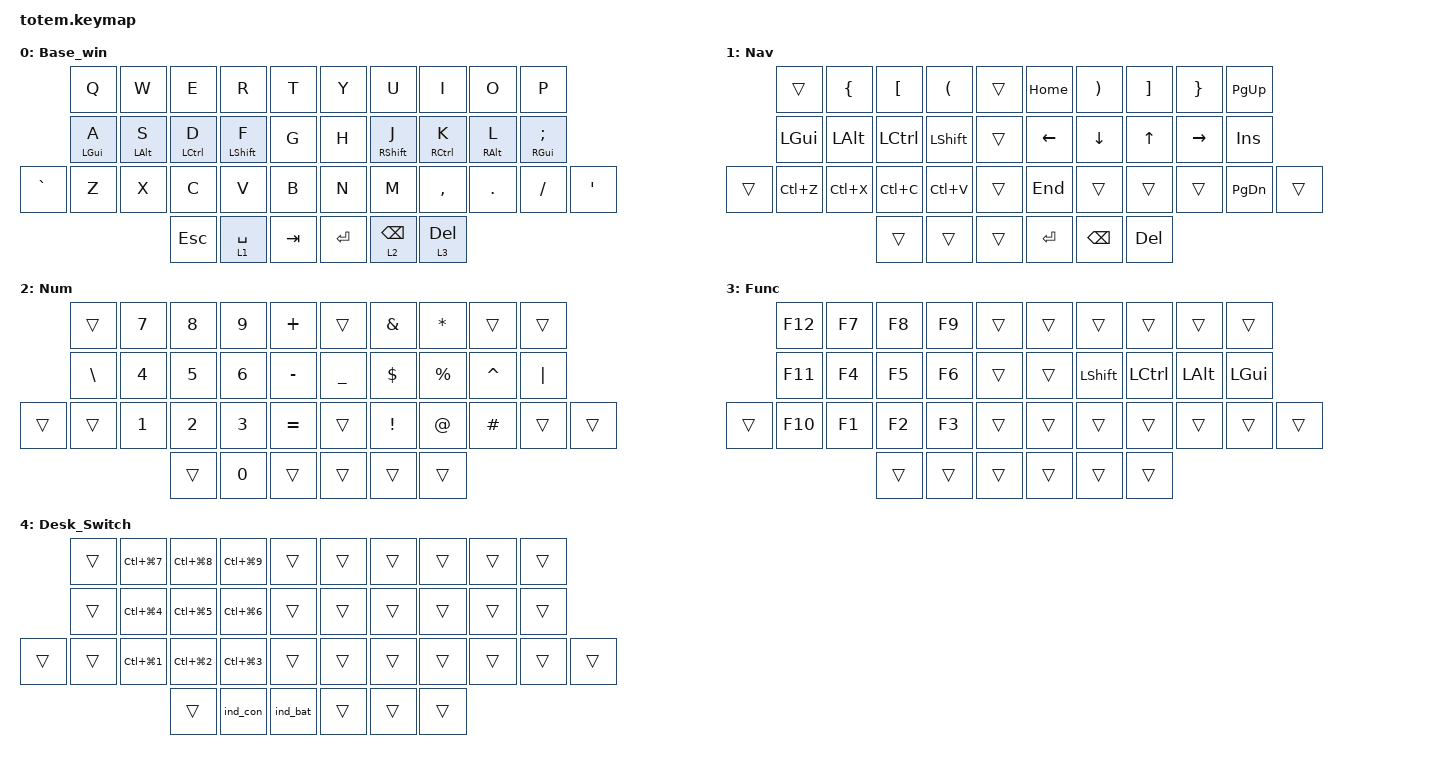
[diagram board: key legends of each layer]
//
//                                                        ▀▀▀▀▀     ▀▀▀▀▀          ▀▀█▀▀
//                                                        ▄▀▀▀▄  ▄  ▄▀▀▀▄  ▄  ▄▀▀▀▄  █  ▄▀▀▀▄
//                                                        █   █  █  █   █  █  █   █  █  █   █
//                                                         ▀▀▀   █   ▀▀▀   █   ▀▀▀   ▀   ▀▀▀
//                                                               █      ▄▄▄█▄▄▄    █   █
//                                                               ▀      █  █  █     █▄█
//                                                             ▀▀▀▀▀    █  █  █      ▀
//                                                                      ▀  ▀  ▀
//
// ▄▄▄▄▄▄▄▄▄▄▄▄▄▄▄▄▄▄▄▄▄▄▄▄▄▄▄▄▄▄▄▄▄▄▄▄▄▄▄▄▄▄▄▄▄▄▄▄▄▄▄▄▄▄▄▄▄▄▄▄▄▄▄▄▄▄▄▄▄▄▄▄▄▄▄▄▄▄▄▄▄▄▄▄▄▄▄▄▄▄▄▄▄▄▄▄▄▄▄▄▄▄▄▄▄▄▄▄▄▄▄▄▄▄▄▄▄▄▄▄▄▄▄▄▄▄▄▄▄▄▄▄▄▄▄▄▄▄▄▄▄▄▄▄▄▄▄▄▄

#define ZMK_POINTING_DEFAULT_MOVE_VAL 1500  // default: 600
#define ZMK_POINTING_DEFAULT_SCRL_VAL 20    // default: 10

#include <behaviors/rgbled_widget.dtsi>
#include <behaviors.dtsi>
#include <dt-bindings/zmk/keys.h>

#define Base        0
#define Nav         1
#define Num         2
#define Func        3
#define Sym         4
#define Desk_Switch 5
#define Mouse       6

&mt {
    tapping-term-ms = <170>;
    quick-tap-ms = <100>;
    flavor = "tap-preferred";
};

&lt {
    tapping-term-ms = <240>;
    quick-tap-ms = <150>;
    flavor = "balanced";
};

/ {
    behaviors {
        hm_l: homerow_mods_l {
            compatible = "zmk,behavior-hold-tap";
            label = "HOMEROW_MODS_LEFT";
            flavor = "tap-preferred";
            tapping-term-ms = <200>;
            quick-tap-ms = <125>;
            bindings = <&kp>, <&kp>;

            #binding-cells = <2>;
            hold-trigger-key-positions = <5 6 7 8 9 15 16 17 18 19 26 27 28 29 30 31 35 36 37 11 12 13 34 33>;
        };

        hm_r: homerow_mods_r {
            compatible = "zmk,behavior-hold-tap";
            label = "HOMEROW_MODS_RIGHT";
            flavor = "tap-preferred";
            tapping-term-ms = <200>;
            quick-tap-ms = <125>;
            bindings = <&kp>, <&kp>;

            #binding-cells = <2>;
            hold-trigger-key-positions = <0 1 2 3 4 10 11 12 13 14 20 21 22 23 24 25 32 33 34 16 17 18>;
        };

        hm_meta_l: hm_meta_l {
            compatible = "zmk,behavior-hold-tap";
            flavor = "balanced";
            tapping-term-ms = <400>;
            quick-tap-ms = <170>;
            require-prior-idle-ms = <50>;
            bindings = <&kp>, <&kp>;

            #binding-cells = <2>;
            hold-trigger-key-positions = <5 6 7 8 9 15 16 17 18 19 26 27 28 29 30 31 35 36 37 34 33>;
            hold-trigger-on-release;
        };

        hm_meta_r: hh_meta_r {
            compatible = "zmk,behavior-hold-tap";
            flavor = "balanced";
            tapping-term-ms = <400>;
            quick-tap-ms = <170>;
            require-prior-idle-ms = <50>;
            bindings = <&kp>, <&kp>;

            #binding-cells = <2>;
            hold-trigger-key-positions = <0 1 2 3 4 10 11 12 13 14 20 21 22 23 24 25 32 33 34>;
            hold-trigger-on-release;
        };
    };

    combos {
        compatible = "zmk,combos";

        WinNav {
            bindings = <&sl 4>;
            key-positions = <13 16>;
        };
    };

    keymap {
        compatible = "zmk,keymap";

        Base {
            display-name = "Base_win";
            bindings = <
           &kp Q              &kp W         &kp E          &kp R           &kp T      &kp Y      &kp U          &kp I          &kp O         &kp P
           &hm_meta_l LGUI A  &hm_l LALT S  &hm_l LCTRL D  &hm_l LSHIFT F  &kp G      &kp H      &hm_r RSHFT J  &hm_r RCTRL K  &hm_r RALT L  &hm_meta_r RGUI SEMICOLON
&kp GRAVE  &kp Z              &kp X         &kp C          &kp V           &kp B      &kp N      &kp M          &kp COMMA      &kp DOT       &kp SLASH                  &kp SINGLE_QUOTE
                                            &kp ESCAPE     &lt 1 SPACE     &kp TAB    &kp ENTER  &lt 2 BSPC     &lt 3 DELETE
            >;

            label = "Base";
        };

        Nav {
            bindings = <
        &trans     &kp LEFT_BRACE  &kp LEFT_BRACKET  &kp LEFT_PARENTHESIS  &trans    &kp HOME        &kp RIGHT_PARENTHESIS  &kp RIGHT_BRACKET  &kp RIGHT_BRACE  &kp PAGE_UP
        &kp LGUI   &kp LALT        &kp LCTRL         &kp LSHFT             &trans    &kp LEFT_ARROW  &kp DOWN_ARROW         &kp UP_ARROW       &kp RIGHT_ARROW  &kp INS
&trans  &kp LC(Z)  &kp LC(X)       &kp LC(C)         &kp LC(V)             &trans    &kp END         &trans                 &trans             &trans           &kp PAGE_DOWN  &trans
                                   &trans            &trans                &trans    &kp ENTER       &kp BSPC               &kp DEL
            >;

            label = "Nav";
        };

        Num {
            bindings = <
        &trans         &kp N7  &kp N8  &kp N9  &kp PLUS     &trans     &kp AMPERSAND  &kp ASTERISK  &trans     &trans
        &kp BACKSLASH  &kp N4  &kp N5  &kp N6  &kp MINUS    &kp UNDER  &kp DOLLAR     &kp PERCENT   &kp CARET  &kp PIPE
&trans  &trans         &kp N1  &kp N2  &kp N3  &kp EQUAL    &trans     &kp EXCL       &kp AT        &kp HASH   &trans    &trans
                               &trans  &kp N0  &trans       &trans     &trans         &trans
            >;

            label = "Num";
        };

        Func {
            bindings = <
        &kp F12  &kp F7  &kp F8  &kp F9  &trans    &trans  &trans     &trans     &trans    &trans
        &kp F11  &kp F4  &kp F5  &kp F6  &trans    &trans  &kp LSHFT  &kp LCTRL  &kp LALT  &kp LGUI
&trans  &kp F10  &kp F1  &kp F2  &kp F3  &trans    &trans  &trans     &trans     &trans    &trans    &trans
                         &trans  &trans  &trans    &trans  &trans     &trans
            >;

            label = "Func";
        };

        Desk_Switch {
            bindings = <
        &trans  &kp LC(LG(N7))        &kp LC(LG(N8))  &kp LC(LG(N9))  &trans      &trans  &trans  &trans  &trans  &trans
        &trans  &kp LC(LG(N4))        &kp LC(LG(N5))  &kp LC(LG(N6))  &trans      &trans  &trans  &trans  &trans  &trans
&trans  &trans  &kp LC(LG(NUMBER_1))  &kp LC(LG(N2))  &kp LC(LG(N3))  &trans      &trans  &trans  &trans  &trans  &trans  &trans
                                      &trans          &ind_con        &ind_bat    &trans  &trans  &trans
            >;

            label = "Desk_Switch";
        };
    };
};
